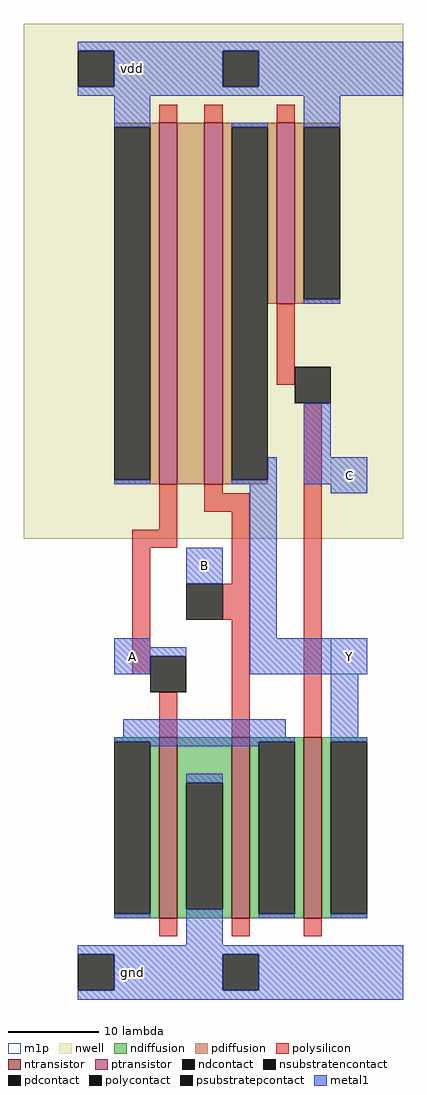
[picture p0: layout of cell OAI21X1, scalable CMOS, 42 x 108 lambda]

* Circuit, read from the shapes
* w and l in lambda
.subckt OAI21X1 A B C Y vdd gnd
M1 gnd A n1 gnd nfet w=20 l=2
M2 n1 B gnd gnd nfet w=20 l=2
M3 Y C n1 gnd nfet w=20 l=2
M4 n2 A vdd vdd pfet w=40 l=2
M5 Y B n2 vdd pfet w=40 l=2
M6 vdd C Y vdd pfet w=20 l=2
.ends

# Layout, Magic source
magic
tech scmos
magscale 1 2
<< nwell >>
rect -16 96 68 210
<< ntransistor >>
rect 14 12 18 52
rect 30 12 34 52
rect 46 12 50 52
<< ptransistor >>
rect 14 108 18 188
rect 24 108 28 188
rect 40 148 44 188
<< ndiffusion >>
rect 4 51 14 52
rect 12 13 14 51
rect 4 12 14 13
rect 18 42 30 52
rect 18 14 20 42
rect 28 14 30 42
rect 18 12 30 14
rect 34 51 46 52
rect 34 13 36 51
rect 44 13 46 51
rect 34 12 46 13
rect 50 51 60 52
rect 50 13 52 51
rect 50 12 60 13
<< pdiffusion >>
rect 4 187 14 188
rect 12 109 14 187
rect 4 108 14 109
rect 18 108 24 188
rect 28 187 40 188
rect 28 109 30 187
rect 38 148 40 187
rect 44 187 54 188
rect 44 149 46 187
rect 44 148 54 149
rect 28 108 38 109
<< ndcontact >>
rect 4 13 12 51
rect 20 14 28 42
rect 36 13 44 51
rect 52 13 60 51
<< pdcontact >>
rect 4 109 12 187
rect 30 109 38 187
rect 46 149 54 187
<< psubstratepcontact >>
rect -4 -4 4 4
rect 28 -4 36 4
<< nsubstratencontact >>
rect -4 196 4 204
rect 28 196 36 204
<< polysilicon >>
rect 14 188 18 192
rect 24 188 28 192
rect 40 188 44 192
rect 40 130 44 148
rect 14 98 18 108
rect 24 106 28 108
rect 24 102 34 106
rect 8 94 18 98
rect 8 66 12 94
rect 30 86 34 102
rect 28 78 34 86
rect 14 52 18 62
rect 30 52 34 78
rect 46 52 50 126
rect 14 8 18 12
rect 30 8 34 12
rect 46 8 50 12
<< polycontact >>
rect 44 126 52 134
rect 20 78 28 86
rect 12 62 20 70
<< metal1 >>
rect -4 204 68 206
rect 4 196 28 204
rect 36 196 68 204
rect -4 194 68 196
rect 4 187 12 194
rect 4 108 12 109
rect 30 187 38 188
rect 46 187 54 194
rect 46 148 54 149
rect 46 114 52 126
rect 38 109 40 114
rect 30 108 40 109
rect 46 108 60 114
rect 20 86 28 94
rect 34 74 40 108
rect 52 106 60 108
rect 4 72 12 74
rect 4 70 20 72
rect 4 66 12 70
rect 34 66 60 74
rect 6 52 42 56
rect 52 52 58 66
rect 4 51 44 52
rect 12 50 36 51
rect 4 12 12 13
rect 20 42 28 44
rect 20 6 28 14
rect 36 12 44 13
rect 52 51 60 52
rect 52 12 60 13
rect -4 4 68 6
rect 4 -4 28 4
rect 36 -4 68 4
rect -4 -6 68 -4
<< m1p >>
rect 52 106 60 114
rect 20 86 28 94
rect 4 66 12 74
rect 52 66 60 74
<< labels >>
rlabel metal1 8 0 8 0 4 gnd
port 6 se
rlabel metal1 8 200 8 200 4 vdd
port 5 se
rlabel metal1 8 70 8 70 4 A
port 1 se
rlabel metal1 24 90 24 90 4 B
port 2 se
rlabel metal1 56 70 56 70 4 Y
port 4 se
rlabel metal1 56 110 56 110 4 C
port 3 se
<< end >>
